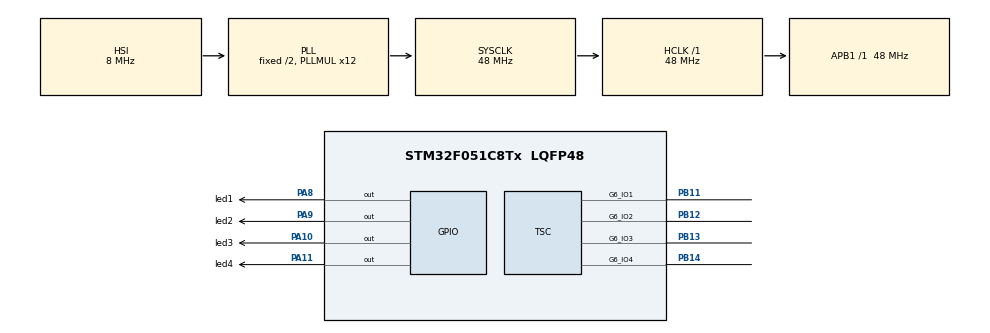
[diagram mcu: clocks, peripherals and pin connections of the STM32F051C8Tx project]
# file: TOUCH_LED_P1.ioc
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Mcu.Family=STM32F0
Mcu.Name=STM32F051C8Tx
Mcu.Package=LQFP48
PA10.GPIO_Label=led3
PA10.Signal=GPIO_Output
PA11.GPIO_Label=led4
PA11.Signal=GPIO_Output
PA13.Mode=Serial_Wire
PA13.Signal=SYS_SWDIO
PA14.Mode=Serial_Wire
PA14.Signal=SYS_SWCLK
PA8.GPIO_Label=led1
PA8.Signal=GPIO_Output
PA9.GPIO_Label=led2
PA9.Signal=GPIO_Output
PB11.Mode=G6_IO1-Sampling
PB11.Signal=TSC_G6_IO1
PB12.Mode=G6_IO2-Channel
PB12.Signal=TSC_G6_IO2
PB13.Mode=G6_IO3-Channel
PB13.Signal=TSC_G6_IO3
PB14.Mode=G6_IO4-Channel
PB14.Signal=TSC_G6_IO4
PF0-OSC_IN.Mode=HSE-External-Oscillator
PF0-OSC_IN.Signal=RCC_OSC_IN
PF1-OSC_OUT.Mode=HSE-External-Oscillator
PF1-OSC_OUT.Signal=RCC_OSC_OUT
ProjectManager.HeapSize=0x200
ProjectManager.StackSize=0x400
ProjectManager.TargetToolchain=STM32CubeIDE
RCC.AHBFreq_Value=48000000
RCC.APB1Freq_Value=48000000
RCC.APB1TimFreq_Value=48000000
RCC.HCLKFreq_Value=48000000
RCC.PLLMUL=RCC_PLL_MUL12
RCC.SYSCLKFreq_VALUE=48000000
RCC.SYSCLKSource=RCC_SYSCLKSOURCE_PLLCLK
TOUCHSENSING.IO_TOUCHKEY1=G6_IO2
TOUCHSENSING.IO_TOUCHKEY2=G6_IO3
TOUCHSENSING.IO_TOUCHKEY3=G6_IO4
TOUCHSENSING.TSLPRM_SENSORS_DATAS=TSLPRM_TOTAL_TOUCHKEYS 3 1 1 1 
TOUCHSENSING.TSLPRM_TOTAL_TOUCHKEYS=3
TSC.ChannelIOs-G6_IO2=TSC_GROUP6_IO2
TSC.ChannelIOs-G6_IO2-Channel=TSC_GROUP6_IO2
TSC.ChannelIOs-G6_IO3=TSC_GROUP6_IO3
TSC.ChannelIOs-G6_IO3-Channel=TSC_GROUP6_IO3
TSC.ChannelIOs-G6_IO4=TSC_GROUP6_IO4
TSC.ChannelIOs-G6_IO4-Channel=TSC_GROUP6_IO4
TSC.SamplingIOs-G6_IO1=TSC_GROUP6_IO1
TSC.SamplingIOs-G6_IO1-Sampling=TSC_GROUP6_IO1
VP_TOUCHSENSING_VS_TOUCHSENSING.Mode=TouchSensing_Enabled
board=custom

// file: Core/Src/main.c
/* USER CODE BEGIN Header */
/**
  ******************************************************************************
  * @file           : main.c
  * @brief          : Main program body
  ******************************************************************************
  * @attention
  *
  * Copyright (c) 2023 STMicroelectronics.
  * All rights reserved.
  *
  * This software is licensed under terms that can be found in the LICENSE file
  * in the root directory of this software component.
  * If no LICENSE file comes with this software, it is provided AS-IS.
  *
  ******************************************************************************
  */
/* USER CODE END Header */
#include "main.h"
#include "touchsensing.h"

/* USER CODE BEGIN PD */
#define detect_type TSL_STATEID_TOUCH
#define release_type TSL_STATEID_RELEASE
/* USER CODE END PD */

TSC_HandleTypeDef htsc;

/* USER CODE BEGIN PV */
tsl_user_status_t touch_status = TSL_USER_STATUS_BUSY;
uint8_t mem1=0,mem2=0,mem3=0;
uint8_t suma1=0,suma2=0,suma3=0;
uint8_t m1=0,m2=0,m3=0,m4=0,m5=0,m6=0,m7=0;
/* USER CODE END PV */

void SystemClock_Config(void);
static void MX_GPIO_Init(void);
static void MX_TSC_Init(void);

int main(void)
{

  /* MCU Configuration--------------------------------------------------------*/

  /* Reset of all peripherals, Initializes the Flash interface and the Systick. */
  HAL_Init();

  /* Configure the system clock */
  SystemClock_Config();

  /* Initialize all configured peripherals */
  MX_GPIO_Init();
  MX_TSC_Init();
  MX_TOUCHSENSING_Init();

  /* Infinite loop */
  /* USER CODE BEGIN WHILE */
  while (1)
  {
	  touch_status = tsl_user_Exec();//esta linea es necesaria en todo

	  if((MyTKeys[0].p_Data->StateId == TSL_STATEID_DETECT  || MyTKeys[0].p_Data->StateId == TSL_STATEID_DETECT) &&
		 (MyTKeys[1].p_Data->StateId == TSL_STATEID_RELEASE || MyTKeys[1].p_Data->StateId == TSL_STATEID_PROX  ) &&
		 (MyTKeys[2].p_Data->StateId == TSL_STATEID_RELEASE || MyTKeys[2].p_Data->StateId == TSL_STATEID_PROX  ) &&
		 !m1){
		  m1 = 1;
	  }

	  if((MyTKeys[0].p_Data->StateId == TSL_STATEID_DETECT  || MyTKeys[0].p_Data->StateId == TSL_STATEID_DETECT) &&
		 (MyTKeys[1].p_Data->StateId == TSL_STATEID_DETECT  || MyTKeys[1].p_Data->StateId == TSL_STATEID_DETECT) &&
		 (MyTKeys[2].p_Data->StateId == TSL_STATEID_RELEASE || MyTKeys[2].p_Data->StateId == TSL_STATEID_PROX  ) &&
		 m1){
		  m2 = 1;
	  }

	  if((MyTKeys[0].p_Data->StateId == TSL_STATEID_RELEASE || MyTKeys[0].p_Data->StateId == TSL_STATEID_PROX  ) &&
		 (MyTKeys[1].p_Data->StateId == TSL_STATEID_DETECT  || MyTKeys[1].p_Data->StateId == TSL_STATEID_DETECT) &&
		 (MyTKeys[2].p_Data->StateId == TSL_STATEID_RELEASE || MyTKeys[2].p_Data->StateId == TSL_STATEID_PROX  ) &&
		 m1 && m2){
		  m3 = 1;
	  }

	  if((MyTKeys[0].p_Data->StateId == TSL_STATEID_RELEASE || MyTKeys[0].p_Data->StateId == TSL_STATEID_PROX  ) &&
		 (MyTKeys[1].p_Data->StateId == TSL_STATEID_DETECT  || MyTKeys[1].p_Data->StateId == TSL_STATEID_DETECT) &&
		 (MyTKeys[2].p_Data->StateId == TSL_STATEID_DETECT  || MyTKeys[2].p_Data->StateId == TSL_STATEID_DETECT) &&
		 m1 && m2 && m3){
		  m4 = 1;
	  }

	  if((MyTKeys[0].p_Data->StateId == TSL_STATEID_RELEASE || MyTKeys[0].p_Data->StateId == TSL_STATEID_PROX  ) &&
		 (MyTKeys[1].p_Data->StateId == TSL_STATEID_RELEASE || MyTKeys[1].p_Data->StateId == TSL_STATEID_PROX  ) &&
		 (MyTKeys[2].p_Data->StateId == TSL_STATEID_DETECT  || MyTKeys[2].p_Data->StateId == TSL_STATEID_DETECT) &&
		 m1 && m2 && m3 && m4){
		  m5 = 1;
	  }

	  if((MyTKeys[0].p_Data->StateId == TSL_STATEID_RELEASE || MyTKeys[0].p_Data->StateId == TSL_STATEID_PROX) &&
		 (MyTKeys[1].p_Data->StateId == TSL_STATEID_RELEASE || MyTKeys[1].p_Data->StateId == TSL_STATEID_PROX) &&
		 (MyTKeys[2].p_Data->StateId == TSL_STATEID_RELEASE || MyTKeys[2].p_Data->StateId == TSL_STATEID_PROX) &&
		 m1 && m2 && m3 && m4 && m5){
		  m6 = 1;
	  }

	  if(m1 && m2 && m3 && m4 && m5 && m6){
		  m7=!m7;
		  m1=0;m2=0;m3=0;m4=0;m5=0;m6=0;
	  }

	  if(m7){
		  HAL_GPIO_WritePin(led4_GPIO_Port, led4_Pin, SET);
	  }else{
		  HAL_GPIO_WritePin(led4_GPIO_Port, led4_Pin, RESET);
	  }

	  //Para encender y apagar tocando 1 vez
	  if((MyTKeys[0].p_Data->StateId == TSL_STATEID_DETECT  || MyTKeys[0].p_Data->StateId == TSL_STATEID_DETECT)  && !mem1){mem1 = 1;}
	  if((MyTKeys[0].p_Data->StateId == TSL_STATEID_RELEASE || MyTKeys[0].p_Data->StateId == TSL_STATEID_PROX  )  &&  mem1){suma1++;mem1=0;}

	  if((MyTKeys[1].p_Data->StateId == TSL_STATEID_DETECT  || MyTKeys[1].p_Data->StateId == TSL_STATEID_DETECT)  && !mem2){mem2 = 1;}
	  if((MyTKeys[1].p_Data->StateId == TSL_STATEID_RELEASE || MyTKeys[1].p_Data->StateId == TSL_STATEID_PROX  )  &&  mem2){suma2++;mem2=0;}

	  if((MyTKeys[2].p_Data->StateId == TSL_STATEID_DETECT  || MyTKeys[2].p_Data->StateId == TSL_STATEID_DETECT)  && !mem3){mem3 = 1;}
	  if((MyTKeys[2].p_Data->StateId == TSL_STATEID_RELEASE || MyTKeys[2].p_Data->StateId == TSL_STATEID_PROX  )  &&  mem3){suma3++;mem3=0;}

	  if(suma1%2) HAL_GPIO_WritePin(led1_GPIO_Port, led1_Pin, SET);
	  else		  HAL_GPIO_WritePin(led1_GPIO_Port, led1_Pin, RESET);

	  if(suma2%2) HAL_GPIO_WritePin(led2_GPIO_Port, led2_Pin, SET);
	  else		  HAL_GPIO_WritePin(led2_GPIO_Port, led2_Pin, RESET);

	  if(suma3%2) HAL_GPIO_WritePin(led3_GPIO_Port, led3_Pin, SET);
	  else		  HAL_GPIO_WritePin(led3_GPIO_Port, led3_Pin, RESET);

//    //PRUEBA 1 ENCENDER APAGAR
//	  if(MyTKeys[0].p_Data->StateId == TSL_STATEID_DETECT){
//		  HAL_GPIO_WritePin(ledBoard_GPIO_Port, ledBoard_Pin, SET);
//	  }
//
//	  if(MyTKeys[1].p_Data->StateId == TSL_STATEID_DETECT){
//	  	  HAL_GPIO_WritePin(ledBoard_GPIO_Port, ledBoard_Pin, RESET);
//	  }

    /* USER CODE END WHILE */

  }
}

void SystemClock_Config(void)
{
  RCC_OscInitTypeDef RCC_OscInitStruct = {0};
  RCC_ClkInitTypeDef RCC_ClkInitStruct = {0};

  /** Initializes the RCC Oscillators according to the specified parameters
  * in the RCC_OscInitTypeDef structure.
  */
  RCC_OscInitStruct.OscillatorType = RCC_OSCILLATORTYPE_HSI;
  RCC_OscInitStruct.HSIState = RCC_HSI_ON;
  RCC_OscInitStruct.HSICalibrationValue = RCC_HSICALIBRATION_DEFAULT;
  RCC_OscInitStruct.PLL.PLLState = RCC_PLL_ON;
  RCC_OscInitStruct.PLL.PLLSource = RCC_PLLSOURCE_HSI;
  RCC_OscInitStruct.PLL.PLLMUL = RCC_PLL_MUL12;
  RCC_OscInitStruct.PLL.PREDIV = RCC_PREDIV_DIV1;
  if (HAL_RCC_OscConfig(&RCC_OscInitStruct) != HAL_OK)
  {
    Error_Handler();
  }

  /** Initializes the CPU, AHB and APB buses clocks
  */
  RCC_ClkInitStruct.ClockType = RCC_CLOCKTYPE_HCLK|RCC_CLOCKTYPE_SYSCLK
                              |RCC_CLOCKTYPE_PCLK1;
  RCC_ClkInitStruct.SYSCLKSource = RCC_SYSCLKSOURCE_PLLCLK;
  RCC_ClkInitStruct.AHBCLKDivider = RCC_SYSCLK_DIV1;
  RCC_ClkInitStruct.APB1CLKDivider = RCC_HCLK_DIV1;

  if (HAL_RCC_ClockConfig(&RCC_ClkInitStruct, FLASH_LATENCY_1) != HAL_OK)
  {
    Error_Handler();
  }
}

static void MX_TSC_Init(void)
{

  /** Configure the TSC peripheral
  */
  htsc.Instance = TSC;
  htsc.Init.CTPulseHighLength = TSC_CTPH_2CYCLES;
  htsc.Init.CTPulseLowLength = TSC_CTPL_2CYCLES;
  htsc.Init.SpreadSpectrum = DISABLE;
  htsc.Init.SpreadSpectrumDeviation = 1;
  htsc.Init.SpreadSpectrumPrescaler = TSC_SS_PRESC_DIV1;
  htsc.Init.PulseGeneratorPrescaler = TSC_PG_PRESC_DIV4;
  htsc.Init.MaxCountValue = TSC_MCV_8191;
  htsc.Init.IODefaultMode = TSC_IODEF_OUT_PP_LOW;
  htsc.Init.SynchroPinPolarity = TSC_SYNC_POLARITY_FALLING;
  htsc.Init.AcquisitionMode = TSC_ACQ_MODE_NORMAL;
  htsc.Init.MaxCountInterrupt = DISABLE;
  htsc.Init.ChannelIOs = TSC_GROUP6_IO2|TSC_GROUP6_IO3|TSC_GROUP6_IO4;
  htsc.Init.ShieldIOs = 0;
  htsc.Init.SamplingIOs = TSC_GROUP6_IO1;
  if (HAL_TSC_Init(&htsc) != HAL_OK)
  {
    Error_Handler();
  }

}

static void MX_GPIO_Init(void)
{
  GPIO_InitTypeDef GPIO_InitStruct = {0};

  /* GPIO Ports Clock Enable */
  __HAL_RCC_GPIOF_CLK_ENABLE();
  __HAL_RCC_GPIOB_CLK_ENABLE();
  __HAL_RCC_GPIOA_CLK_ENABLE();

  /*Configure GPIO pin Output Level */
  HAL_GPIO_WritePin(GPIOA, led1_Pin|led2_Pin|led3_Pin|led4_Pin, GPIO_PIN_RESET);

  /*Configure GPIO pins : led1_Pin led2_Pin led3_Pin led4_Pin */
  GPIO_InitStruct.Pin = led1_Pin|led2_Pin|led3_Pin|led4_Pin;
  GPIO_InitStruct.Mode = GPIO_MODE_OUTPUT_PP;
  GPIO_InitStruct.Pull = GPIO_NOPULL;
  GPIO_InitStruct.Speed = GPIO_SPEED_FREQ_LOW;
  HAL_GPIO_Init(GPIOA, &GPIO_InitStruct);

}

void Error_Handler(void)
{
  __disable_irq();
  while (1)
  {
  }
}
